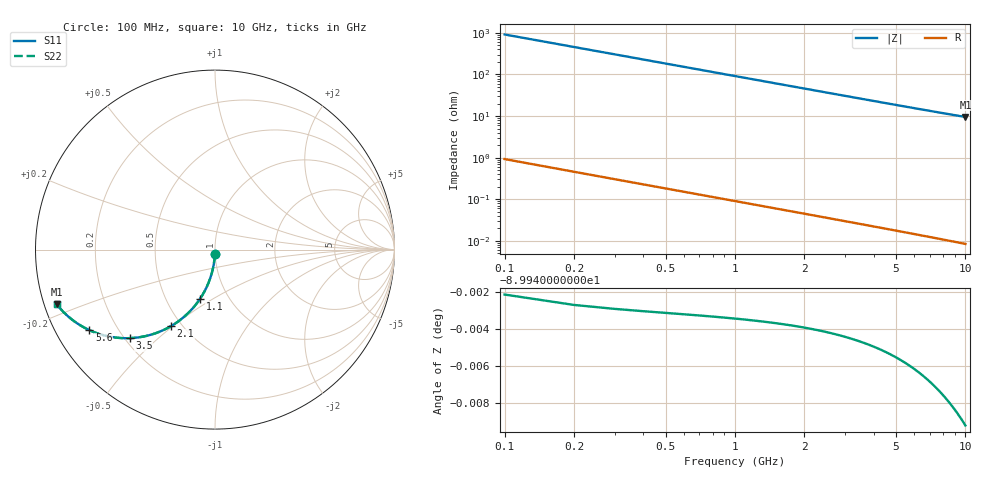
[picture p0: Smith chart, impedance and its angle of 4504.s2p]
# Hz S RI R 50.00
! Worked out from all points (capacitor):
!   100 points, 100 MHz to 10 GHz, reference 50 ohm
!   read as one part in shunt: C = 1.74 pF near 100 MHz
!   lowest |Z| = 9.52 ohm at 10 GHz (marker M1)
!   S11 on the Smith chart (normalised r, x): 100 MHz: 1.00, -0.05; 1.1 GHz: 0.74, -0.44; 2.1 GHz: 0.44, -0.49; 3.5 GHz: 0.22, -0.41; 5.6 GHz: 0.10, -0.29; 10 GHz: 0.04, -0.17
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1e8  -0.000734 -0.0271  0.9992 -0.0274  0.9992 -0.0274  -0.000734 -0.0271
2e8  -0.00298 -0.054  0.9969 -0.0547  0.9969 -0.0547  -0.00298 -0.054
3e8  -0.00669 -0.0808  0.9932 -0.0817  0.9932 -0.0817  -0.00669 -0.0808
4e8  -0.0118 -0.1071  0.9881 -0.1084  0.9881 -0.1084  -0.0118 -0.1071
5e8  -0.0183 -0.133  0.9816 -0.1346  0.9816 -0.1346  -0.0183 -0.133
6e8  -0.0262 -0.1583  0.9738 -0.1602  0.9738 -0.1602  -0.0262 -0.1583
7e8  -0.0353 -0.183  0.9647 -0.1852  0.9647 -0.1852  -0.0353 -0.183
9e8  -0.0569 -0.2299  0.943 -0.2327  0.943 -0.2327  -0.0569 -0.2299
1.1e9  -0.0827 -0.2732  0.9172 -0.2767  0.9172 -0.2767  -0.0827 -0.2732
1.4e9  -0.1273 -0.3306  0.8726 -0.3351  0.8726 -0.3351  -0.1273 -0.3306
1.8e9  -0.1942 -0.3922  0.8057 -0.398  0.8057 -0.398  -0.1942 -0.3922
2.1e9  -0.2469 -0.4274  0.753 -0.4341  0.753 -0.4341  -0.2469 -0.4274
2.7e9  -0.3513 -0.4726  0.6486 -0.4812  0.6486 -0.4812  -0.3513 -0.4726
3.4e9  -0.4619 -0.4926  0.5379 -0.5035  0.5379 -0.5035  -0.4619 -0.4926
3.5e9  -0.4763 -0.4933  0.5235 -0.5046  0.5235 -0.5046  -0.4763 -0.4933
4.3e9  -0.5786 -0.4863  0.4212 -0.5002  0.4212 -0.5002  -0.5786 -0.4863
5.1e9  -0.6589 -0.4652  0.3409 -0.4818  0.3409 -0.4818  -0.6589 -0.4652
5.6e9  -0.6997 -0.4487  0.3 -0.467  0.3 -0.467  -0.6997 -0.4487
6.7e9  -0.7696 -0.4095  0.2301 -0.4315  0.2301 -0.4315  -0.7696 -0.4095
7.5e9  -0.8073 -0.3813  0.1923 -0.4061  0.1923 -0.4061  -0.8073 -0.3813
8.4e9  -0.8404 -0.3515  0.1591 -0.3794  0.1591 -0.3794  -0.8404 -0.3515
1e10  -0.8823 -0.3045  0.117 -0.3381  0.117 -0.3381  -0.8823 -0.3045
